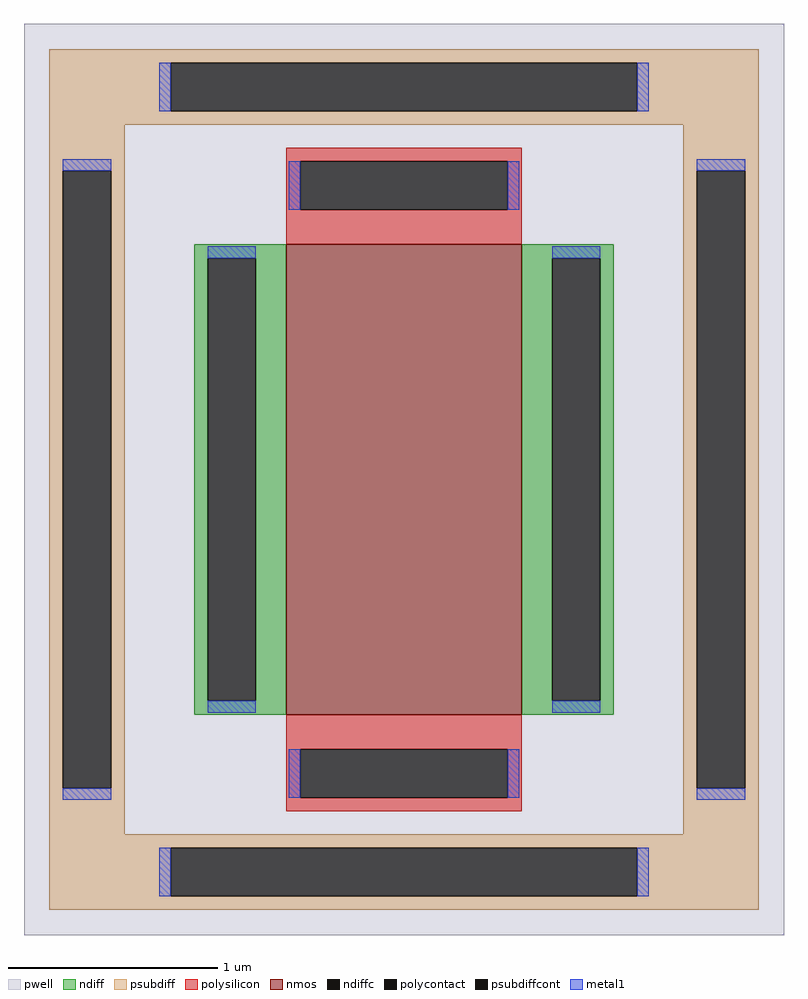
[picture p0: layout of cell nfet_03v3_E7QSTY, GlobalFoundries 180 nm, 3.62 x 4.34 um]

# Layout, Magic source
magic
tech gf180mcuD
magscale 1 10
<< pwell >>
rect -362 -434 362 434
<< nmos >>
rect -112 -224 112 224
<< ndiff >>
rect -200 211 -112 224
rect -200 -211 -187 211
rect -141 -211 -112 211
rect -200 -224 -112 -211
rect 112 211 200 224
rect 112 -211 141 211
rect 187 -211 200 211
rect 112 -224 200 -211
<< ndiffc >>
rect -187 -211 -141 211
rect 141 -211 187 211
<< psubdiff >>
rect -338 397 338 410
rect -338 351 -222 397
rect 222 351 338 397
rect -338 338 338 351
rect -338 294 -266 338
rect -338 -294 -325 294
rect -279 -294 -266 294
rect 266 294 338 338
rect -338 -338 -266 -294
rect 266 -294 279 294
rect 325 -294 338 294
rect 266 -338 338 -294
rect -338 -351 338 -338
rect -338 -397 -222 -351
rect 222 -397 338 -351
rect -338 -410 338 -397
<< psubdiffcont >>
rect -222 351 222 397
rect -325 -294 -279 294
rect 279 -294 325 294
rect -222 -397 222 -351
<< polysilicon >>
rect -112 303 112 316
rect -112 257 -99 303
rect 99 257 112 303
rect -112 224 112 257
rect -112 -257 112 -224
rect -112 -303 -99 -257
rect 99 -303 112 -257
rect -112 -316 112 -303
<< polycontact >>
rect -99 257 99 303
rect -99 -303 99 -257
<< metal1 >>
rect -233 351 -222 397
rect 222 351 233 397
rect -325 294 -279 305
rect -110 257 -99 303
rect 99 257 110 303
rect 279 294 325 305
rect -187 211 -141 222
rect -187 -222 -141 -211
rect 141 211 187 222
rect 141 -222 187 -211
rect -325 -305 -279 -294
rect -110 -303 -99 -257
rect 99 -303 110 -257
rect 279 -305 325 -294
rect -233 -397 -222 -351
rect 222 -397 233 -351
<< properties >>
string FIXED_BBOX -302 -374 302 374
string gencell nfet_03v3
string library gf180mcu
string parameters w 2.24 l 1.12 m 1 nf 1 diffcov 100 polycov 100 guard 1 glc 1 grc 1 gtc 1 gbc 1 tbcov 100 rlcov 100 topc 1 botc 1 poverlap 0 doverlap 1 lmin 0.28 wmin 0.22 class mosfet full_metal 0 compatible {nfet_03v3 nfet_05v0 nfet_06v0 nfet_06v0_nvt}
<< end >>
